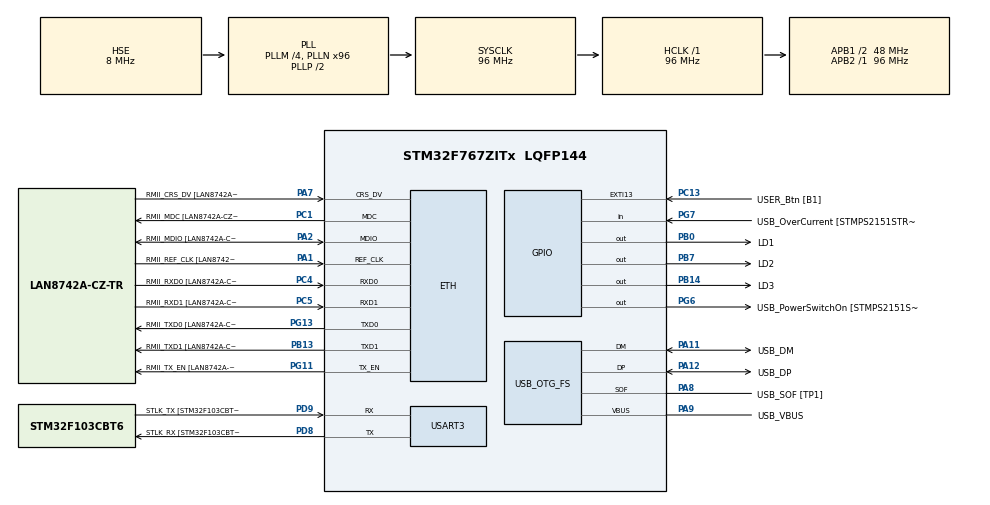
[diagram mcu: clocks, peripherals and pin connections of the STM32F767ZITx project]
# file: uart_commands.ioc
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ETH.MediaInterface=HAL_ETH_RMII_MODE
ETH.PHY_Name=LAN8742A_PHY_ADDRESS
ETH.PHY_Value=0
ETH.PhyAddress=0
Mcu.Family=STM32F7
Mcu.Name=STM32F767ZITx
Mcu.Package=LQFP144
NVIC.PriorityGroup=NVIC_PRIORITYGROUP_4
NVIC.USART3_IRQn=true\:0\:0\:false\:false\:true\:true\:true\:true
PA1.GPIO_Label=RMII_REF_CLK [LAN8742A-CZ-TR_REFCLK0]
PA1.Mode=RMII
PA1.Signal=ETH_REF_CLK
PA10.GPIO_Label=USB_ID
PA10.Signal=USB_OTG_FS_ID
PA11.GPIO_Label=USB_DM
PA11.Mode=Device_Only
PA11.Signal=USB_OTG_FS_DM
PA12.GPIO_Label=USB_DP
PA12.Mode=Device_Only
PA12.Signal=USB_OTG_FS_DP
PA13.GPIO_Label=TMS
PA13.Mode=Serial_Wire
PA13.Signal=SYS_JTMS-SWDIO
PA14.GPIO_Label=TCK
PA14.Mode=Serial_Wire
PA14.Signal=SYS_JTCK-SWCLK
PA2.GPIO_Label=RMII_MDIO [LAN8742A-CZ-TR_MDIO]
PA2.Mode=RMII
PA2.Signal=ETH_MDIO
PA7.GPIO_Label=RMII_CRS_DV [LAN8742A-CZ-TR_CRS_DV]
PA7.Mode=RMII
PA7.Signal=ETH_CRS_DV
PA8.GPIO_Label=USB_SOF [TP1]
PA8.Mode=Activate_SOF_FS
PA8.Signal=USB_OTG_FS_SOF
PA9.GPIO_Label=USB_VBUS
PA9.Mode=Activate_VBUS
PA9.Signal=USB_OTG_FS_VBUS
PB0.GPIO_Label=LD1
PB0.Signal=GPIO_Output
PB13.GPIO_Label=RMII_TXD1 [LAN8742A-CZ-TR_TXD1]
PB13.Mode=RMII
PB13.Signal=ETH_TXD1
PB14.GPIO_Label=LD3
PB14.Signal=GPIO_Output
PB3.GPIO_Label=SWO
PB3.Signal=SYS_JTDO-SWO
PB7.GPIO_Label=LD2
PB7.Signal=GPIO_Output
PC1.GPIO_Label=RMII_MDC [LAN8742A-CZ-TR_MDC]
PC1.Mode=RMII
PC1.Signal=ETH_MDC
PC13.GPIO_Label=USER_Btn [B1]
PC13.Signal=GPXTI13
PC14/OSC32_IN.Mode=LSE-External-Oscillator
PC14/OSC32_IN.Signal=RCC_OSC32_IN
PC15/OSC32_OUT.Mode=LSE-External-Oscillator
PC15/OSC32_OUT.Signal=RCC_OSC32_OUT
PC4.GPIO_Label=RMII_RXD0 [LAN8742A-CZ-TR_RXD0]
PC4.Mode=RMII
PC4.Signal=ETH_RXD0
PC5.GPIO_Label=RMII_RXD1 [LAN8742A-CZ-TR_RXD1]
PC5.Mode=RMII
PC5.Signal=ETH_RXD1
PD8.GPIO_Label=STLK_RX [STM32F103CBT6_PA3]
PD8.Mode=Asynchronous
PD8.Signal=USART3_TX
PD9.GPIO_Label=STLK_TX [STM32F103CBT6_PA2]
PD9.Mode=Asynchronous
PD9.Signal=USART3_RX
PG11.GPIO_Label=RMII_TX_EN [LAN8742A-CZ-TR_TXEN]
PG11.Mode=RMII
PG11.Signal=ETH_TX_EN
PG13.GPIO_Label=RMII_TXD0 [LAN8742A-CZ-TR_TXD0]
PG13.Mode=RMII
PG13.Signal=ETH_TXD0
PG6.GPIO_Label=USB_PowerSwitchOn [STMPS2151STR_EN]
PG6.Signal=GPIO_Output
PG7.GPIO_Label=USB_OverCurrent [STMPS2151STR_FAULT]
PG7.Signal=GPIO_Input
PH0/OSC_IN.GPIO_Label=MCO [STM32F103CBT6_PA8]
PH0/OSC_IN.Mode=HSE-External-Clock-Source
PH0/OSC_IN.Signal=RCC_OSC_IN
PH1/OSC_OUT.Mode=HSE-External-Clock-Source
PH1/OSC_OUT.Signal=RCC_OSC_OUT
ProjectManager.HeapSize=0x200
ProjectManager.StackSize=0x400
ProjectManager.TargetToolchain=STM32CubeIDE
RCC.48MHZClocksFreq_Value=24000000
RCC.AHBFreq_Value=96000000
RCC.APB1CLKDivider=RCC_HCLK_DIV2
RCC.APB1Freq_Value=48000000
RCC.APB1TimFreq_Value=96000000
RCC.APB2Freq_Value=96000000
RCC.APB2TimFreq_Value=96000000
RCC.CortexFreq_Value=96000000
RCC.HCLKFreq_Value=96000000
RCC.HSE_VALUE=8000000
RCC.HSI_VALUE=16000000
RCC.PLLM=4
RCC.PLLMUL=RCC_PLL_MUL9
RCC.PLLN=96
RCC.PLLQ=4
RCC.PRESCALERUSB=RCC_USBCLKSOURCE_PLL_DIV1_5
RCC.SYSCLKFreq_VALUE=96000000
RCC.SYSCLKSource=RCC_SYSCLKSOURCE_PLLCLK
RCC.SYSCLKSourceVirtual=RCC_SYSCLKSOURCE_PLLCLK
RCC.USBFreq_Value=48000000
RCC.VCOOutputFreq_Value=192000000
USART3.VirtualMode-Asynchronous=VM_ASYNC
USB_OTG_FS.VirtualMode=Device_Only
board=NUCLEO-F767ZI

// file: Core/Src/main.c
/* USER CODE BEGIN Header */
/**
  ******************************************************************************
  * @file           : main.c
  * @brief          : Main program body
  ******************************************************************************
  * @attention
  *
  * Copyright (c) 2025 STMicroelectronics.
  * All rights reserved.
  *
  * This software is licensed under terms that can be found in the LICENSE file
  * in the root directory of this software component.
  * If no LICENSE file comes with this software, it is provided AS-IS.
  *
  ******************************************************************************
  */
/* USER CODE END Header */
#include "main.h"
#include "string.h"

#if defined ( __ICCARM__ ) /*!< IAR Compiler */
#pragma location=0x2007c000
ETH_DMADescTypeDef  DMARxDscrTab[ETH_RX_DESC_CNT]; /* Ethernet Rx DMA Descriptors */
#pragma location=0x2007c0a0
ETH_DMADescTypeDef  DMATxDscrTab[ETH_TX_DESC_CNT]; /* Ethernet Tx DMA Descriptors */

#elif defined ( __CC_ARM )  /* MDK ARM Compiler */

__attribute__((at(0x2007c000))) ETH_DMADescTypeDef  DMARxDscrTab[ETH_RX_DESC_CNT]; /* Ethernet Rx DMA Descriptors */
__attribute__((at(0x2007c0a0))) ETH_DMADescTypeDef  DMATxDscrTab[ETH_TX_DESC_CNT]; /* Ethernet Tx DMA Descriptors */

#elif defined ( __GNUC__ ) /* GNU Compiler */
ETH_DMADescTypeDef DMARxDscrTab[ETH_RX_DESC_CNT] __attribute__((section(".RxDecripSection"))); /* Ethernet Rx DMA Descriptors */
ETH_DMADescTypeDef DMATxDscrTab[ETH_TX_DESC_CNT] __attribute__((section(".TxDecripSection")));   /* Ethernet Tx DMA Descriptors */

#endif

ETH_TxPacketConfig TxConfig;

ETH_HandleTypeDef heth;

UART_HandleTypeDef huart3;

PCD_HandleTypeDef hpcd_USB_OTG_FS;

void SystemClock_Config(void);
static void MX_GPIO_Init(void);
static void MX_ETH_Init(void);
static void MX_USART3_UART_Init(void);
static void MX_USB_OTG_FS_PCD_Init(void);

/* USER CODE BEGIN 0 */
uint8_t rx_buffer[16];
int led_number;
char status[3];
/* USER CODE END 0 */

int main(void)
{

  /* MCU Configuration--------------------------------------------------------*/

  /* Reset of all peripherals, Initializes the Flash interface and the Systick. */
  HAL_Init();

  /* Configure the system clock */
  SystemClock_Config();

  /* Initialize all configured peripherals */
  MX_GPIO_Init();
  MX_ETH_Init();
  MX_USART3_UART_Init();
  MX_USB_OTG_FS_PCD_Init();
  /* USER CODE BEGIN 2 */
  HAL_UART_Receive_IT(&huart3, rx_buffer, sizeof(rx_buffer));
  /* USER CODE END 2 */

  /* Infinite loop */
  /* USER CODE BEGIN WHILE */
  while (1)
  {
	  HAL_UART_Transmit(&huart3, rx_buffer, sizeof(rx_buffer), 100); //Echo last command at buffer
	  HAL_Delay(500);

	  switch(led_number)
	  {
	  case 1:
		  if((status[0] == 'O') && (status[1] == 'N') && (status[2] == 'X'))
		  {
			  HAL_GPIO_WritePin(GPIOB, GPIO_PIN_0, GPIO_PIN_SET);
		  }
		  if((status[0] == 'O') && (status[1] == 'F') && (status[2] == 'F'))
		  {
			  HAL_GPIO_WritePin(GPIOB, GPIO_PIN_0, GPIO_PIN_RESET);
		  }
		  break;
	  case 2:
		  if((status[0] == 'O') && (status[1] == 'N') && (status[2] == 'X'))
		  {
			  HAL_GPIO_WritePin(GPIOB, GPIO_PIN_7, GPIO_PIN_SET);
		  }
		  if((status[0] == 'O') && (status[1] == 'F') && (status[2] == 'F'))
		  {
			  HAL_GPIO_WritePin(GPIOB, GPIO_PIN_7, GPIO_PIN_RESET);
		  }
		  break;
	  case 3:
		  if((status[0] == 'O') && (status[1] == 'N') && (status[2] == 'X'))
		  {
			  HAL_GPIO_WritePin(GPIOB, GPIO_PIN_14, GPIO_PIN_SET);
		  }
		  if((status[0] == 'O') && (status[1] == 'F') && (status[2] == 'F'))
		  {
			  HAL_GPIO_WritePin(GPIOB, GPIO_PIN_14, GPIO_PIN_RESET);
		  }
		  break;
	  }
    /* USER CODE END WHILE */
  }
}

void SystemClock_Config(void)
{
  RCC_OscInitTypeDef RCC_OscInitStruct = {0};
  RCC_ClkInitTypeDef RCC_ClkInitStruct = {0};

  /** Configure LSE Drive Capability
  */
  HAL_PWR_EnableBkUpAccess();

  /** Configure the main internal regulator output voltage
  */
  __HAL_RCC_PWR_CLK_ENABLE();
  __HAL_PWR_VOLTAGESCALING_CONFIG(PWR_REGULATOR_VOLTAGE_SCALE3);

  /** Initializes the RCC Oscillators according to the specified parameters
  * in the RCC_OscInitTypeDef structure.
  */
  RCC_OscInitStruct.OscillatorType = RCC_OSCILLATORTYPE_HSE;
  RCC_OscInitStruct.HSEState = RCC_HSE_BYPASS;
  RCC_OscInitStruct.PLL.PLLState = RCC_PLL_ON;
  RCC_OscInitStruct.PLL.PLLSource = RCC_PLLSOURCE_HSE;
  RCC_OscInitStruct.PLL.PLLM = 4;
  RCC_OscInitStruct.PLL.PLLN = 96;
  RCC_OscInitStruct.PLL.PLLP = RCC_PLLP_DIV2;
  RCC_OscInitStruct.PLL.PLLQ = 4;
  RCC_OscInitStruct.PLL.PLLR = 2;
  if (HAL_RCC_OscConfig(&RCC_OscInitStruct) != HAL_OK)
  {
    Error_Handler();
  }

  /** Activate the Over-Drive mode
  */
  if (HAL_PWREx_EnableOverDrive() != HAL_OK)
  {
    Error_Handler();
  }

  /** Initializes the CPU, AHB and APB buses clocks
  */
  RCC_ClkInitStruct.ClockType = RCC_CLOCKTYPE_HCLK|RCC_CLOCKTYPE_SYSCLK
                              |RCC_CLOCKTYPE_PCLK1|RCC_CLOCKTYPE_PCLK2;
  RCC_ClkInitStruct.SYSCLKSource = RCC_SYSCLKSOURCE_PLLCLK;
  RCC_ClkInitStruct.AHBCLKDivider = RCC_SYSCLK_DIV1;
  RCC_ClkInitStruct.APB1CLKDivider = RCC_HCLK_DIV2;
  RCC_ClkInitStruct.APB2CLKDivider = RCC_HCLK_DIV1;

  if (HAL_RCC_ClockConfig(&RCC_ClkInitStruct, FLASH_LATENCY_3) != HAL_OK)
  {
    Error_Handler();
  }
}

static void MX_ETH_Init(void)
{

   static uint8_t MACAddr[6];

  heth.Instance = ETH;
  MACAddr[0] = 0x00;
  MACAddr[1] = 0x80;
  MACAddr[2] = 0xE1;
  MACAddr[3] = 0x00;
  MACAddr[4] = 0x00;
  MACAddr[5] = 0x00;
  heth.Init.MACAddr = &MACAddr[0];
  heth.Init.MediaInterface = HAL_ETH_RMII_MODE;
  heth.Init.TxDesc = DMATxDscrTab;
  heth.Init.RxDesc = DMARxDscrTab;
  heth.Init.RxBuffLen = 1524;

  if (HAL_ETH_Init(&heth) != HAL_OK)
  {
    Error_Handler();
  }

  memset(&TxConfig, 0 , sizeof(ETH_TxPacketConfig));
  TxConfig.Attributes = ETH_TX_PACKETS_FEATURES_CSUM | ETH_TX_PACKETS_FEATURES_CRCPAD;
  TxConfig.ChecksumCtrl = ETH_CHECKSUM_IPHDR_PAYLOAD_INSERT_PHDR_CALC;
  TxConfig.CRCPadCtrl = ETH_CRC_PAD_INSERT;

}

static void MX_USART3_UART_Init(void)
{

  huart3.Instance = USART3;
  huart3.Init.BaudRate = 115200;
  huart3.Init.WordLength = UART_WORDLENGTH_8B;
  huart3.Init.StopBits = UART_STOPBITS_1;
  huart3.Init.Parity = UART_PARITY_NONE;
  huart3.Init.Mode = UART_MODE_TX_RX;
  huart3.Init.HwFlowCtl = UART_HWCONTROL_NONE;
  huart3.Init.OverSampling = UART_OVERSAMPLING_16;
  huart3.Init.OneBitSampling = UART_ONE_BIT_SAMPLE_DISABLE;
  huart3.AdvancedInit.AdvFeatureInit = UART_ADVFEATURE_NO_INIT;
  if (HAL_UART_Init(&huart3) != HAL_OK)
  {
    Error_Handler();
  }

}

static void MX_USB_OTG_FS_PCD_Init(void)
{

  hpcd_USB_OTG_FS.Instance = USB_OTG_FS;
  hpcd_USB_OTG_FS.Init.dev_endpoints = 6;
  hpcd_USB_OTG_FS.Init.speed = PCD_SPEED_FULL;
  hpcd_USB_OTG_FS.Init.dma_enable = DISABLE;
  hpcd_USB_OTG_FS.Init.phy_itface = PCD_PHY_EMBEDDED;
  hpcd_USB_OTG_FS.Init.Sof_enable = ENABLE;
  hpcd_USB_OTG_FS.Init.low_power_enable = DISABLE;
  hpcd_USB_OTG_FS.Init.lpm_enable = DISABLE;
  hpcd_USB_OTG_FS.Init.vbus_sensing_enable = ENABLE;
  hpcd_USB_OTG_FS.Init.use_dedicated_ep1 = DISABLE;
  if (HAL_PCD_Init(&hpcd_USB_OTG_FS) != HAL_OK)
  {
    Error_Handler();
  }

}

static void MX_GPIO_Init(void)
{
  GPIO_InitTypeDef GPIO_InitStruct = {0};

  /* GPIO Ports Clock Enable */
  __HAL_RCC_GPIOC_CLK_ENABLE();
  __HAL_RCC_GPIOH_CLK_ENABLE();
  __HAL_RCC_GPIOA_CLK_ENABLE();
  __HAL_RCC_GPIOB_CLK_ENABLE();
  __HAL_RCC_GPIOD_CLK_ENABLE();
  __HAL_RCC_GPIOG_CLK_ENABLE();

  /*Configure GPIO pin Output Level */
  HAL_GPIO_WritePin(GPIOB, LD1_Pin|LD3_Pin|LD2_Pin, GPIO_PIN_RESET);

  /*Configure GPIO pin Output Level */
  HAL_GPIO_WritePin(USB_PowerSwitchOn_GPIO_Port, USB_PowerSwitchOn_Pin, GPIO_PIN_RESET);

  /*Configure GPIO pin : USER_Btn_Pin */
  GPIO_InitStruct.Pin = USER_Btn_Pin;
  GPIO_InitStruct.Mode = GPIO_MODE_IT_RISING;
  GPIO_InitStruct.Pull = GPIO_NOPULL;
  HAL_GPIO_Init(USER_Btn_GPIO_Port, &GPIO_InitStruct);

  /*Configure GPIO pins : LD1_Pin LD3_Pin LD2_Pin */
  GPIO_InitStruct.Pin = LD1_Pin|LD3_Pin|LD2_Pin;
  GPIO_InitStruct.Mode = GPIO_MODE_OUTPUT_PP;
  GPIO_InitStruct.Pull = GPIO_NOPULL;
  GPIO_InitStruct.Speed = GPIO_SPEED_FREQ_LOW;
  HAL_GPIO_Init(GPIOB, &GPIO_InitStruct);

  /*Configure GPIO pin : USB_PowerSwitchOn_Pin */
  GPIO_InitStruct.Pin = USB_PowerSwitchOn_Pin;
  GPIO_InitStruct.Mode = GPIO_MODE_OUTPUT_PP;
  GPIO_InitStruct.Pull = GPIO_NOPULL;
  GPIO_InitStruct.Speed = GPIO_SPEED_FREQ_LOW;
  HAL_GPIO_Init(USB_PowerSwitchOn_GPIO_Port, &GPIO_InitStruct);

  /*Configure GPIO pin : USB_OverCurrent_Pin */
  GPIO_InitStruct.Pin = USB_OverCurrent_Pin;
  GPIO_InitStruct.Mode = GPIO_MODE_INPUT;
  GPIO_InitStruct.Pull = GPIO_NOPULL;
  HAL_GPIO_Init(USB_OverCurrent_GPIO_Port, &GPIO_InitStruct);

}

/* USER CODE BEGIN 4 */
  void HAL_UART_RxCpltCallback(UART_HandleTypeDef *huart)
  {
	  if (huart->Instance == USART3)  // Ensure it's the correct UART instance
	  {
	      led_number = rx_buffer[5] - 48; // Extract LED number
	      status[0] = rx_buffer[13]; // Extract status 1st character
	      status[1] = rx_buffer[14]; // Extract status 2nd character
	      status[2] = rx_buffer[15]; // Extract status 3rd character

	      // Restart reception for the next incoming data
	      HAL_UART_Receive_IT(&huart3, rx_buffer, sizeof(rx_buffer));
	  }

  }

/* USER CODE END 4 */

void Error_Handler(void)
{
  __disable_irq();
  while (1)
  {
  }
}
